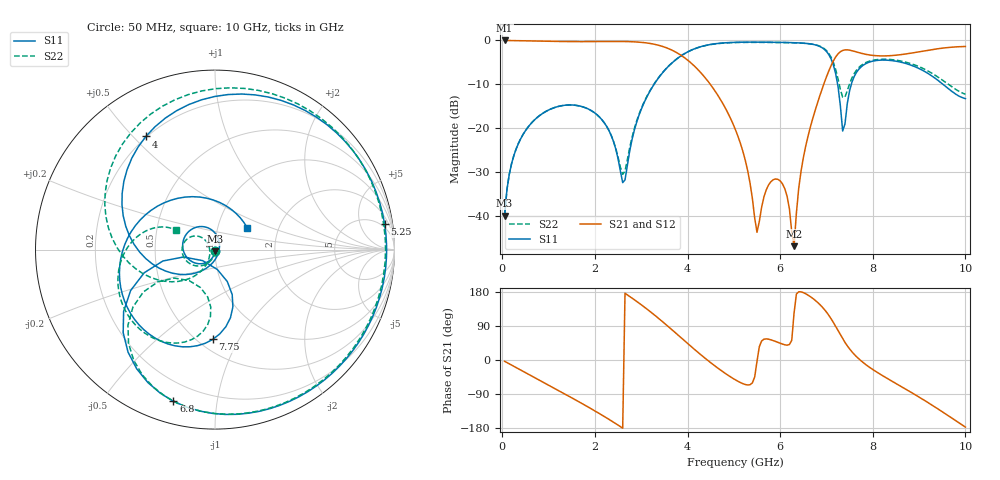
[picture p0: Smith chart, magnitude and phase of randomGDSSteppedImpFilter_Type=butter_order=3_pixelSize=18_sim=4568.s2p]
! freq	dB(S11)	phase(S11)	dB(S12)	phase(S12)
!  dB(S21)	phase(S21)	dB(S22)	phase(S22)
!S-par simulation data
#  GHz  S  DB  R 50
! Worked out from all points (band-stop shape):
!   200 points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, 50 MHz to 10 GHz, reference 50 ohm
!   highest |S21| = -0.01 dB at 50 MHz (marker M1); lowest = -46.9 dB at 6.3 GHz (marker M2)
!   |S21| within 3 dB of the highest: start of sweep to 3.802 GHz; 8.765 GHz to end of sweep (the widest 2 of 3)
!   lowest |S11| = -40.0 dB at 50 MHz (marker M3), VSWR 1.02, Z = 50 - j1 ohm
!   |S11| at or under -10 dB: start of sweep to 3.279 GHz; 7.241 GHz to 7.538 GHz (296.9 MHz wide, 4.02 % of centre); 9.514 GHz to end of sweep
!   |S22| runs from -40.0 to -0.4 dB; largest |S21 - S12| = 0
!   S11 on the Smith chart (normalised r, x): 50 MHz: 1.00, -0.02; 4 GHz: 0.20, +0.54; 5.25 GHz: 4, +12; 6.8 GHz: 0.10, -0.76; 7.75 GHz: 0.59, -0.78; 10 GHz: 1.38, +0.36
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0.05  -39.97 -91.9  -0.01 -3.4  -0.01 -3.4  -39.97 -91.3
0.55  -19.86 -130.4  -0.09 -36.7  -0.09 -36.7  -19.85 -124.0
1.75  -15.19 140.6  -0.28 -116.8  -0.28 -116.8  -15.20 164.5
2.3  -20.50 91.0  -0.24 -156.4  -0.24 -156.4  -20.49 136.9
2.6  -32.45 5.1  -0.24 -179.8  -0.24 -179.8  -30.55 179.4
3.4  -8.19 -172.7  -1.17 107.3  -1.17 107.3  -8.13 -156.9
4  -2.63 121.4  -4.47 43.8  -4.47 43.8  -2.63 141.9
4.5  -0.91 70.7  -10.13 -7.1  -10.13 -7.1  -0.95 89.6
5.05  -0.43 23.6  -20.78 -53.5  -20.78 -53.5  -0.48 37.5
5.25  -0.39 8.5  -27.47 -64.8  -27.47 -64.8  -0.45 20.2
5.5  -0.39 -9.4  -43.76 -3.6  -43.76 -3.6  -0.44 -0.5
5.95  -0.44 -39.8  -31.69 46.6  -31.69 46.6  -0.48 -35.3
6.3  -0.52 -63.7  -46.94 123.1  -46.94 123.1  -0.54 -61.6
6.45  -0.59 -74.6  -29.90 179.9  -29.90 179.9  -0.60 -73.2
6.7  -0.88 -95.4  -17.96 162.9  -17.96 162.9  -0.86 -94.1
6.8  -1.15 -105.4  -14.45 152.9  -14.45 152.9  -1.10 -103.7
7.15  -5.64 -154.1  -4.65 98.9  -4.65 98.9  -5.06 -145.0
7.35  -20.67 -138.6  -2.29 56.3  -2.29 56.3  -12.96 -129.8
7.75  -6.02 -91.4  -2.93 -2.5  -2.93 -2.5  -5.70 -104.7
8.35  -4.53 -139.1  -3.50 -51.4  -3.50 -51.4  -4.33 -142.6
9.2  -7.58 148.4  -2.23 -112.9  -2.23 -112.9  -7.02 171.5
10  -13.28 34.6  -1.38 -177.1  -1.38 -177.1  -12.28 153.3
